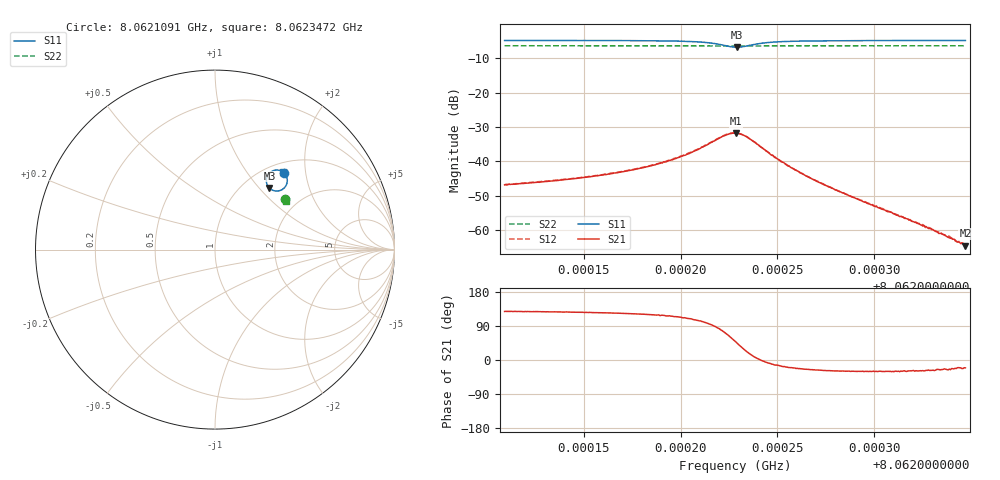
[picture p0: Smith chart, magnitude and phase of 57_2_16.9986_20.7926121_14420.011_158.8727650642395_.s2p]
#  HZ  S  RI  R  50.00
! Rohde & Schwarz Vector Network Analyzer
! Rohde-Schwarz,ZNB20-2Port,1311601062101988,3.16
! Created: UTC 3/20/2024, 10:54:39 PM
! freq[Hz]  re:S11  im:S11  re:S21  im:S21  re:S12  im:S12  re:S22  im:S22
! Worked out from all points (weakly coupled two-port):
!   401 points, 8.0621091 GHz to 8.0623472 GHz, reference 50 ohm
!   highest |S21| = -31.77 dB at 8.0622288 GHz (marker M1); lowest = -64.5 dB at 8.0623472 GHz (marker M2)
!   lowest |S11| = -6.8 dB at 8.0622293 GHz (marker M3), VSWR 2.69, Z = 65.5 + j56.9 ohm
!   |S11| at or under -10 dB: nowhere
!   |S22| runs from -6.4 to -6.3 dB; largest |S21 - S12| = 0.0021
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8.06210908e9  0.3849 0.4276  -0.00282 0.00359  -0.00262 0.00376  0.3891 0.2842
8.06214897e9  0.3906 0.4209  -0.00338 0.0047  -0.00315 0.00496  0.3907 0.282
8.06216803e9  0.3943 0.4154  -0.0038 0.00577  -0.0035 0.00607  0.3912 0.2807
8.06218886e9  0.3996 0.4038  -0.00451 0.00816  -0.00396 0.00853  0.3919 0.2791
8.06220315e9  0.4028 0.3863  -0.00437 0.0119  -0.00361 0.0123  0.3924 0.2779
8.06221506e9  0.3944 0.3547  -0.00151 0.0182  -0.000285 0.0186  0.3919 0.276
8.0622234e9  0.354 0.3271  0.00809 0.0227  0.00981 0.0225  0.39 0.2749
8.06222816e9  0.3126 0.3356  0.0167 0.0197  0.0183 0.0186  0.3884 0.276
8.06222875e9  0.3078 0.3391  0.0176 0.0189  0.0192 0.0175  0.3884 0.2762
8.06222935e9  0.3032 0.343  0.0185 0.0178  0.0199 0.0164  0.3881 0.2763
8.06223411e9  0.2859 0.3825  0.0212 0.00879  0.0217 0.0073  0.3881 0.278
8.06224304e9  0.3077 0.4303  0.015 -0.000907  0.015 -0.00196  0.3902 0.2792
8.06225555e9  0.3385 0.4429  0.00807 -0.00286  0.00805 -0.00336  0.392 0.2788
8.06226805e9  0.354 0.4423  0.00501 -0.00238  0.00487 -0.00273  0.3931 0.278
8.0622877e9  0.366 0.4389  0.00271 -0.00157  0.00262 -0.00171  0.394 0.2766
8.06230794e9  0.3728 0.436  0.00161 -0.000926  0.00155 -0.00103  0.3952 0.2756
8.06232461e9  0.3765 0.4339  0.00104 -0.000566  0.00101 -0.000652  0.3957 0.2746
8.06233056e9  0.3775 0.4333  0.000905 -0.00046  0.000861 -0.0005  0.396 0.2743
8.0623383e9  0.3789 0.4324  0.000704 -0.000346  0.000725 -0.000376  0.3961 0.2738
8.06234188e9  0.3794 0.432  0.000672 -0.00027  0.000624 -0.00032  0.3964 0.2738
8.06234485e9  0.3798 0.4316  0.000595 -0.000226  0.000602 -0.000255  0.3963 0.2736
8.06234723e9  0.3801 0.4316  0.000559 -0.000212  0.000534 -0.000238  0.3964 0.2734
